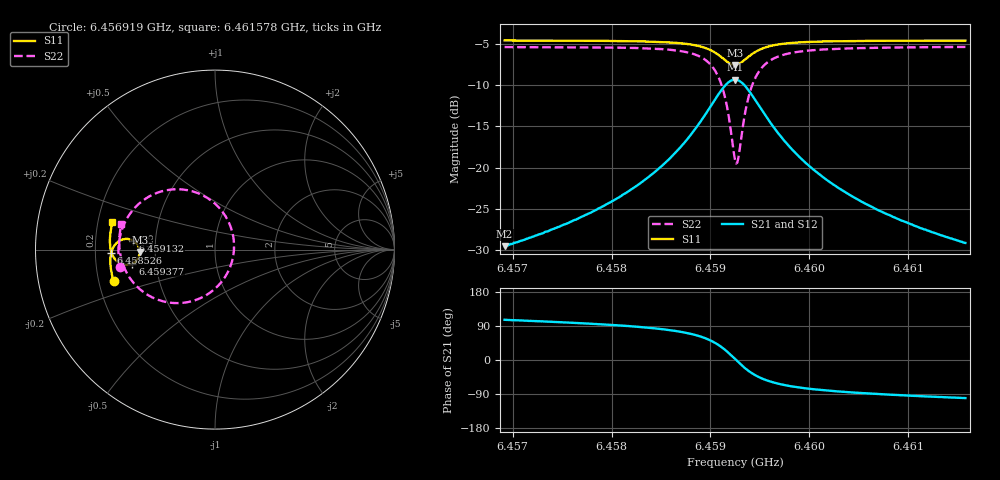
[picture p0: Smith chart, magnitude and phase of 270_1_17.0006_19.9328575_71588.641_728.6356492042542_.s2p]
#  HZ  S  RI  R  50.00
! Rohde & Schwarz Vector Network Analyzer
! Rohde-Schwarz,ZNB20-2Port,1311601062101988,3.16
! Created: UTC 3/20/2024, 11:04:08 PM
! freq[Hz]  re:S11  im:S11  re:S21  im:S21  re:S12  im:S12  re:S22  im:S22
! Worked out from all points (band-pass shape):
!   401 points, 6.456919 GHz to 6.461578 GHz, reference 50 ohm
!   highest |S21| = -9.31 dB at 6.459248 GHz (marker M1); lowest = -29.5 dB at 6.456919 GHz (marker M2)
!   |S21| within 3 dB of the highest: 6.459015 GHz to 6.459481 GHz (465.9 kHz wide, 0.00721 % of centre)
!   lowest |S11| = -7.5 dB at 6.459248 GHz (marker M3), VSWR 2.45, Z = 20.4 - j0.626 ohm
!   |S11| at or under -10 dB: nowhere
!   |S22| runs from -19.5 to -5.3 dB; largest |S21 - S12| = 0.013
!   S11 on the Smith chart (normalised r, x): 6.456919 GHz: 0.26, -0.14; 6.458526 GHz: 0.27, -0.01; 6.459132 GHz: 0.37, +0.05; 6.459377 GHz: 0.37, -0.07; 6.461578 GHz: 0.26, +0.12
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6.4569192e9  -0.565 -0.1773  -0.00924 0.032  -0.00743 0.032  -0.5313 -0.0946
6.4576995e9  -0.5798 -0.1095  -0.00602 0.05  -0.00359 0.0493  -0.5382 -0.00374
6.4581304e9  -0.5831 -0.0666  -0.000287 0.0693  0.003 0.0679  -0.531 0.064
6.4584798e9  -0.5798 -0.025  0.0132 0.0979  0.0173 0.0954  -0.5065 0.142
6.4585264e9  -0.5783 -0.0187  0.0165 0.1033  0.0206 0.1004  -0.5003 0.1552
6.458736e9  -0.5664 0.0133  0.0423 0.135  0.0465 0.1304  -0.4521 0.2271
6.4588874e9  -0.5454 0.0397  0.0844 0.1653  0.088 0.159  -0.3742 0.2915
6.4590388e9  -0.4996 0.0594  0.1758 0.1847  0.1769 0.1773  -0.2074 0.3362
6.459132e9  -0.4554 0.0495  0.2651 0.1541  0.2655 0.1482  -0.0417 0.2873
6.4591786e9  -0.4345 0.031  0.3087 0.1119  0.31 0.1066  0.0408 0.212
6.4592485e9  -0.4196 -0.0126  0.342 0.0158  0.3456 0.00888  0.106 0.0339
6.4592601e9  -0.42 -0.0206  0.3419 -0.00173  0.3456 -0.00924  0.1058 0.000505
6.4592834e9  -0.4236 -0.036  0.3365 -0.0362  0.3403 -0.0452  0.0951 -0.0649
6.45933e9  -0.439 -0.0617  0.3084 -0.0955  0.3107 -0.1073  0.0384 -0.1772
6.4593766e9  -0.4606 -0.0778  0.267 -0.1364  0.2663 -0.1495  -0.0453 -0.2515
6.4594697e9  -0.5036 -0.0845  0.1832 -0.1676  0.1772 -0.1791  -0.2125 -0.2981
6.4596211e9  -0.547 -0.0642  0.0963 -0.1545  0.0878 -0.1606  -0.3787 -0.25
6.4597842e9  -0.5684 -0.0366  0.0517 -0.1271  0.0441 -0.1299  -0.459 -0.1789
6.4600288e9  -0.5811 -0.00102  0.0226 -0.0961  0.0168 -0.0968  -0.5072 -0.097
6.4603898e9  -0.5856 0.0413  0.00624 -0.069  0.00226 -0.0686  -0.5293 -0.0158
6.4608091e9  -0.5837 0.0831  -0.00116 -0.0515  -0.00408 -0.0505  -0.5334 0.0503
6.4615777e9  -0.5715 0.1511  -0.00637 -0.0343  -0.00806 -0.0333  -0.5223 0.1408
